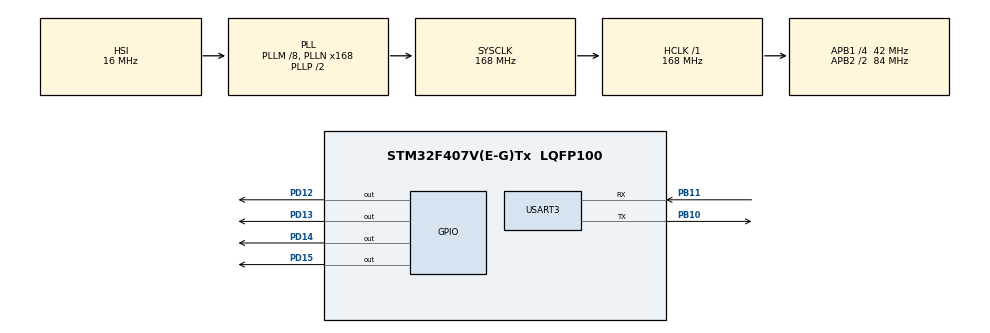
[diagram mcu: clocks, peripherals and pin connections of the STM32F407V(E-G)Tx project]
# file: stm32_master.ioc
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Mcu.Family=STM32F4
Mcu.Name=STM32F407V(E-G)Tx
Mcu.Package=LQFP100
NVIC.PriorityGroup=NVIC_PRIORITYGROUP_4
PB10.Mode=Asynchronous
PB10.Signal=USART3_TX
PB11.Mode=Asynchronous
PB11.Signal=USART3_RX
PD12.Signal=GPIO_Output
PD13.Signal=GPIO_Output
PD14.Signal=GPIO_Output
PD15.Signal=GPIO_Output
ProjectManager.HeapSize=0x200
ProjectManager.StackSize=0x400
ProjectManager.TargetToolchain=STM32CubeIDE
RCC.48MHZClocksFreq_Value=84000000
RCC.AHBFreq_Value=168000000
RCC.APB1CLKDivider=RCC_HCLK_DIV4
RCC.APB1Freq_Value=42000000
RCC.APB1TimFreq_Value=84000000
RCC.APB2CLKDivider=RCC_HCLK_DIV2
RCC.APB2Freq_Value=84000000
RCC.APB2TimFreq_Value=168000000
RCC.CortexFreq_Value=168000000
RCC.HCLKFreq_Value=168000000
RCC.HSE_VALUE=25000000
RCC.HSI_VALUE=16000000
RCC.LSE_VALUE=32768
RCC.PLLM=8
RCC.PLLN=168
RCC.SYSCLKFreq_VALUE=168000000
RCC.SYSCLKSource=RCC_SYSCLKSOURCE_PLLCLK
RCC.VCOOutputFreq_Value=336000000
USART3.VirtualMode=VM_ASYNC
board=custom

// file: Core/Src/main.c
/* USER CODE BEGIN Header */
/**
  ******************************************************************************
  * @file           : main.c
  * @brief          : Main program body
  ******************************************************************************
  * @attention
  *
  * Copyright (c) 2026 STMicroelectronics.
  * All rights reserved.
  *
  * This software is licensed under terms that can be found in the LICENSE file
  * in the root directory of this software component.
  * If no LICENSE file comes with this software, it is provided AS-IS.
  *
  ******************************************************************************
  */
/* USER CODE END Header */
#include "main.h"

/* USER CODE BEGIN Includes */
#include <stdio.h>
#include <string.h>
/* USER CODE END Includes */

UART_HandleTypeDef huart3;

/* USER CODE BEGIN PV */
uint8_t txMsg[] = "PING\n";
uint8_t rxByte;
volatile uint8_t pongReceived = 0;
uint8_t rxBuf[8];
uint8_t rxIdx = 0;
/* USER CODE END PV */

void SystemClock_Config(void);
static void MX_GPIO_Init(void);
static void MX_USART3_UART_Init(void);

int main(void)
{

  /* MCU Configuration--------------------------------------------------------*/

  /* Reset of all peripherals, Initializes the Flash interface and the Systick. */
  HAL_Init();

  /* Configure the system clock */
  SystemClock_Config();

  /* Initialize all configured peripherals */
  MX_GPIO_Init();
  MX_USART3_UART_Init();
  /* USER CODE BEGIN 2 */
  HAL_UART_Receive_IT(&huart3, &rxByte, 1);   // arm RX before loop starts
  /* USER CODE END 2 */

  /* Infinite loop */
  while (1)
  {

    /* USER CODE BEGIN 3 */
	  HAL_GPIO_TogglePin(GPIOD, GPIO_PIN_15);   // blue heartbeat

	     HAL_UART_Transmit(&huart3, txMsg, sizeof(txMsg) - 1, HAL_MAX_DELAY);

	     memset(rxBuf, 0, sizeof(rxBuf));
	     uint16_t rxLen = 0;
	     HAL_UARTEx_ReceiveToIdle(&huart3, rxBuf, sizeof(rxBuf), &rxLen, 500);

	     if (rxLen >= 4 && strncmp((char*)rxBuf, "PONG", 4) == 0) {
	         HAL_GPIO_WritePin(GPIOD, GPIO_PIN_12, GPIO_PIN_SET);     // green
	         HAL_GPIO_WritePin(GPIOD, GPIO_PIN_13, GPIO_PIN_RESET);
	     } else {
	         HAL_GPIO_WritePin(GPIOD, GPIO_PIN_12, GPIO_PIN_RESET);
	         HAL_GPIO_WritePin(GPIOD, GPIO_PIN_13, GPIO_PIN_SET);     // orange
	     }

	     HAL_Delay(1000);
  }
  /* USER CODE END 3 */
}

void SystemClock_Config(void)
{
  RCC_OscInitTypeDef RCC_OscInitStruct = {0};
  RCC_ClkInitTypeDef RCC_ClkInitStruct = {0};

  /** Configure the main internal regulator output voltage
  */
  __HAL_RCC_PWR_CLK_ENABLE();
  __HAL_PWR_VOLTAGESCALING_CONFIG(PWR_REGULATOR_VOLTAGE_SCALE1);

  /** Initializes the RCC Oscillators according to the specified parameters
  * in the RCC_OscInitTypeDef structure.
  */
  RCC_OscInitStruct.OscillatorType = RCC_OSCILLATORTYPE_HSI;
  RCC_OscInitStruct.HSIState = RCC_HSI_ON;
  RCC_OscInitStruct.HSICalibrationValue = RCC_HSICALIBRATION_DEFAULT;
  RCC_OscInitStruct.PLL.PLLState = RCC_PLL_ON;
  RCC_OscInitStruct.PLL.PLLSource = RCC_PLLSOURCE_HSI;
  RCC_OscInitStruct.PLL.PLLM = 8;
  RCC_OscInitStruct.PLL.PLLN = 168;
  RCC_OscInitStruct.PLL.PLLP = RCC_PLLP_DIV2;
  RCC_OscInitStruct.PLL.PLLQ = 4;
  if (HAL_RCC_OscConfig(&RCC_OscInitStruct) != HAL_OK)
  {
    Error_Handler();
  }

  /** Initializes the CPU, AHB and APB buses clocks
  */
  RCC_ClkInitStruct.ClockType = RCC_CLOCKTYPE_HCLK|RCC_CLOCKTYPE_SYSCLK
                              |RCC_CLOCKTYPE_PCLK1|RCC_CLOCKTYPE_PCLK2;
  RCC_ClkInitStruct.SYSCLKSource = RCC_SYSCLKSOURCE_PLLCLK;
  RCC_ClkInitStruct.AHBCLKDivider = RCC_SYSCLK_DIV1;
  RCC_ClkInitStruct.APB1CLKDivider = RCC_HCLK_DIV4;
  RCC_ClkInitStruct.APB2CLKDivider = RCC_HCLK_DIV2;

  if (HAL_RCC_ClockConfig(&RCC_ClkInitStruct, FLASH_LATENCY_5) != HAL_OK)
  {
    Error_Handler();
  }
}

static void MX_USART3_UART_Init(void)
{

  huart3.Instance = USART3;
  huart3.Init.BaudRate = 115200;
  huart3.Init.WordLength = UART_WORDLENGTH_8B;
  huart3.Init.StopBits = UART_STOPBITS_1;
  huart3.Init.Parity = UART_PARITY_NONE;
  huart3.Init.Mode = UART_MODE_TX_RX;
  huart3.Init.HwFlowCtl = UART_HWCONTROL_NONE;
  huart3.Init.OverSampling = UART_OVERSAMPLING_16;
  if (HAL_UART_Init(&huart3) != HAL_OK)
  {
    Error_Handler();
  }

}

static void MX_GPIO_Init(void)
{
  GPIO_InitTypeDef GPIO_InitStruct = {0};

  /* GPIO Ports Clock Enable */
  __HAL_RCC_GPIOB_CLK_ENABLE();
  __HAL_RCC_GPIOD_CLK_ENABLE();

  /*Configure GPIO pin Output Level */
  HAL_GPIO_WritePin(GPIOD, GPIO_PIN_12|GPIO_PIN_13|GPIO_PIN_14|GPIO_PIN_15, GPIO_PIN_RESET);

  /*Configure GPIO pins : PD12 PD13 PD14 PD15 */
  GPIO_InitStruct.Pin = GPIO_PIN_12|GPIO_PIN_13|GPIO_PIN_14|GPIO_PIN_15;
  GPIO_InitStruct.Mode = GPIO_MODE_OUTPUT_PP;
  GPIO_InitStruct.Pull = GPIO_NOPULL;
  GPIO_InitStruct.Speed = GPIO_SPEED_FREQ_LOW;
  HAL_GPIO_Init(GPIOD, &GPIO_InitStruct);

}

/* USER CODE BEGIN 4 */
void HAL_UART_RxCpltCallback(UART_HandleTypeDef *huart)
{
    if (huart->Instance == USART3) {
        rxBuf[rxIdx++] = rxByte;
        if (rxIdx >= 4) {                      // got PONG's 4 significant bytes
            if (strncmp((char*)rxBuf, "PONG", 4) == 0)
                pongReceived = 1;
            rxIdx = 0;
        }
        HAL_UART_Receive_IT(&huart3, &rxByte, 1);   // re-arm for next byte
    }
}
/* USER CODE END 4 */

void Error_Handler(void)
{
  __disable_irq();
  while (1)
  {
  }
}
